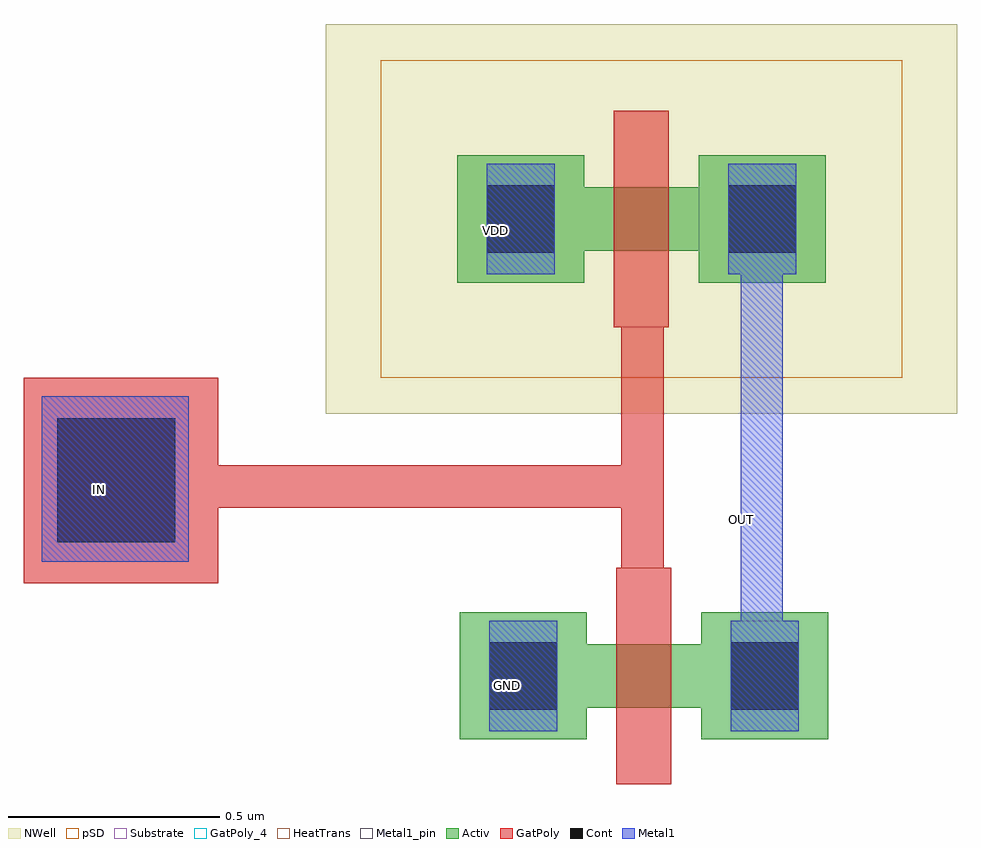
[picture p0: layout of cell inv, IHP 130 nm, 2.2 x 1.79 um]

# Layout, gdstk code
import gdstk
lib = gdstk.Library(unit=1e-6, precision=1e-09)
def R(c, l, rs):  # rectangles x0, y0, x1, y1
    for r in rs: c.add(gdstk.rectangle(r[:2], r[2:], *l))
Activ = (1, 0)
GatPoly = (5, 0)
GatPoly_4 = (5, 4)
Cont = (6, 0)
Metal1 = (8, 0)
Metal1_pin = (8, 2)
pSD = (14, 0)
NWell = (31, 0)
Substrate = (40, 0)
HeatTrans = (51, 0)

nmos = lib.new_cell('nmos')
R(nmos, Activ, [(0,0,0.3,0.3), (0.57,0,0.87,0.3), (0,0.075,0.87,0.225)])
R(nmos, GatPoly, [(0.37,-0.105,0.5,0.405)])
R(nmos, GatPoly_4, [(0.37,-0.105,0.5,0.405), (0.37,-0.105,0.5,0.405)])
R(nmos, Cont, [(0.07,0.07,0.23,0.23), (0.64,0.07,0.8,0.23)])
R(nmos, Metal1, [(0.07,0.02,0.23,0.28), (0.64,0.02,0.8,0.28)])
R(nmos, Metal1_pin, [(0.07,0.02,0.23,0.28), (0.07,0.02,0.23,0.28), (0.64,0.02,0.8,0.28), (0.64,0.02,0.8,0.28)])
R(nmos, HeatTrans, [(0.37,-0.105,0.5,0.405)])
nmos.add(gdstk.Label('nmos', (0.435,0.15), layer=51, texttype=0))

pmos = lib.new_cell('pmos')
R(pmos, Activ, [(0,0,0.3,0.3), (0.57,0,0.87,0.3), (0,0.075,0.87,0.225)])
R(pmos, GatPoly, [(0.37,-0.105,0.5,0.405), (0.37,-0.105,0.5,0.405), (0.37,-0.105,0.5,0.405)])
R(pmos, Cont, [(0.07,0.07,0.23,0.23), (0.64,0.07,0.8,0.23)])
R(pmos, Metal1, [(0.07,0.02,0.23,0.28), (0.07,0.02,0.23,0.28), (0.07,0.02,0.23,0.28), (0.64,0.02,0.8,0.28), (0.64,0.02,0.8,0.28), (0.64,0.02,0.8,0.28)])
R(pmos, pSD, [(-0.18,-0.225,1.05,0.525)])
R(pmos, NWell, [(-0.31,-0.31,1.18,0.61)])
R(pmos, Substrate, [(0.57,0,0.87,0.3), (0.57,0,0.87,0.3)])
R(pmos, HeatTrans, [(0.37,-0.105,0.5,0.405)])
pmos.add(gdstk.Label('pmos', (0.435,0.15), layer=51, texttype=0))
pmos.add(gdstk.Label('pmos', (0.435,0.15), layer=63, texttype=0))

inv = lib.new_cell('inv')
R(inv, GatPoly, [(-1.28,0.579,-0.821,1.063)])
R(inv, Cont, [(-1.201,0.675,-0.923,0.968)])
R(inv, Metal1, [(-1.238,0.629,-0.891,1.02)])
inv.add(gdstk.FlexPath([(0.172,0.807),(-1.049,0.807)], 0.1, ends="flush", simple_path=True, layer=5, datatype=0))  # GatPoly
inv.add(gdstk.FlexPath([(0.18,1.267),(0.18,0.535)], 0.1, ends="flush", simple_path=True, layer=5, datatype=0))  # GatPoly
inv.add(gdstk.FlexPath([(0.461,1.445),(0.461,0.346)], 0.1, ends="flush", simple_path=True, layer=8, datatype=0))  # Metal1
inv.add(gdstk.Reference(nmos, (-0.252,0.21)))
inv.add(gdstk.Reference(pmos, (-0.258,1.288)))
inv.add(gdstk.Label('VDD', (-0.167,1.411), layer=63, texttype=0))
inv.add(gdstk.Label('IN', (-1.102,0.799), layer=8, texttype=25))
inv.add(gdstk.Label('OUT', (0.414,0.729), layer=8, texttype=25))
inv.add(gdstk.Label('GND', (-0.139,0.338), layer=8, texttype=25))

lib.write_gds('inv.gds')
